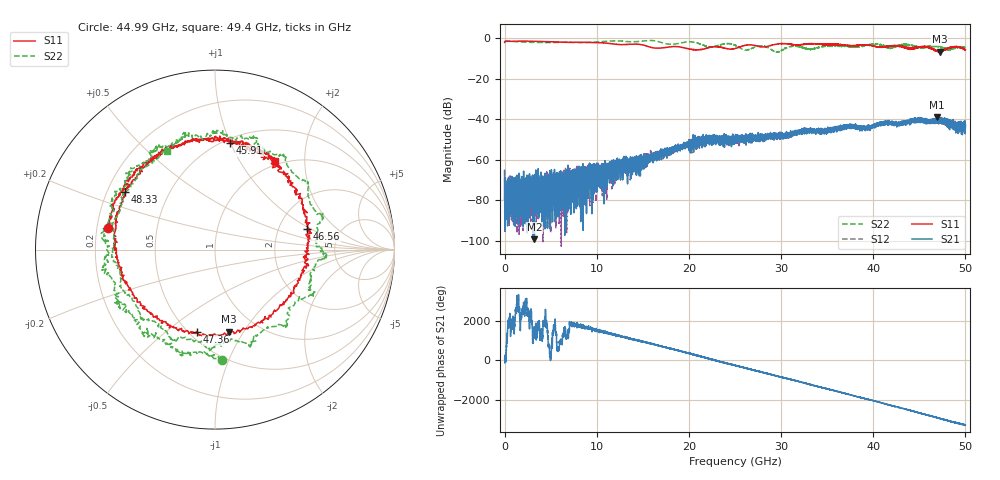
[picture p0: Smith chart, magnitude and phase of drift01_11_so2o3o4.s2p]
!Created with skrf (http://scikit-rf.org).
# Hz S RI R 50.0
!freq ReS11 ImS11 ReS21 ImS21 ReS12 ImS12 ReS22 ImS22
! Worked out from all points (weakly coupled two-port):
!   10001 points, 300 kHz to 50 GHz, reference 50 ohm
!   highest |S21| = -38.94 dB at 46.88 GHz (marker M1); lowest = -99.2 dB at 3.23 GHz (marker M2)
!   lowest |S11| = -6.7 dB at 47.21 GHz (marker M3), VSWR 2.74, Z = 37 - j43.2 ohm
!   |S11| at or under -10 dB: nowhere
!   |S22| runs from -6.9 to -1.0 dB; largest |S21 - S12| = 0.0039
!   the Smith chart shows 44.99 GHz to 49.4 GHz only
!   S11 on the Smith chart (normalised r, x): 44.99 GHz: 0.25, +0.09; 45.91 GHz: 0.54, +1.00; 46.56 GHz: 2.89, +0.90; 47.36 GHz: 0.54, -0.65; 48.33 GHz: 0.28, +0.27; 49.4 GHz: 0.94, +1.44
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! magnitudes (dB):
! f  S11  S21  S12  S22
! 300 kHz  -2.1  -65.6  -64.7  -1.3
! 255.3 MHz  -1.4  -78.6  -84.6  -1.4
! 3.23 GHz  -1.5  -99.2  -81.5  -2.0
! 6.56 GHz  -1.9  -67.3  -75.5  -1.9
! 8.335 GHz  -2.0  -70.2  -70.9  -2.1
! 16.67 GHz  -4.9  -56.0  -56.7  -1.6
! 22.11 GHz  -4.6  -50.2  -48.7  -4.1
! 25 GHz  -5.0  -49.9  -49.9  -3.4
! 28.09 GHz  -4.3  -48.6  -49.4  -3.8
! 29.52 GHz  -2.9  -47.7  -48.0  -6.7
! 31.29 GHz  -3.2  -47.5  -46.5  -3.9
! 33.34 GHz  -2.6  -46.0  -45.7  -5.4
! 41.67 GHz  -3.9  -41.1  -41.2  -4.6
! 44.99 GHz  -4.3  -39.5  -40.1  -4.2
! 45.91 GHz  -4.4  -40.9  -40.6  -4.0
! 46.56 GHz  -5.6  -40.5  -40.3  -3.6
! 46.88 GHz  -6.3  -38.9  -41.0  -4.0
! 47.21 GHz  -6.7  -39.8  -40.2  -4.6
! 47.36 GHz  -6.5  -40.1  -40.3  -4.7
! 48.33 GHz  -4.5  -42.2  -42.1  -5.5
! 49.4 GHz  -4.5  -41.4  -43.8  -4.3
! 50 GHz  -5.6  -43.1  -42.6  -4.3
